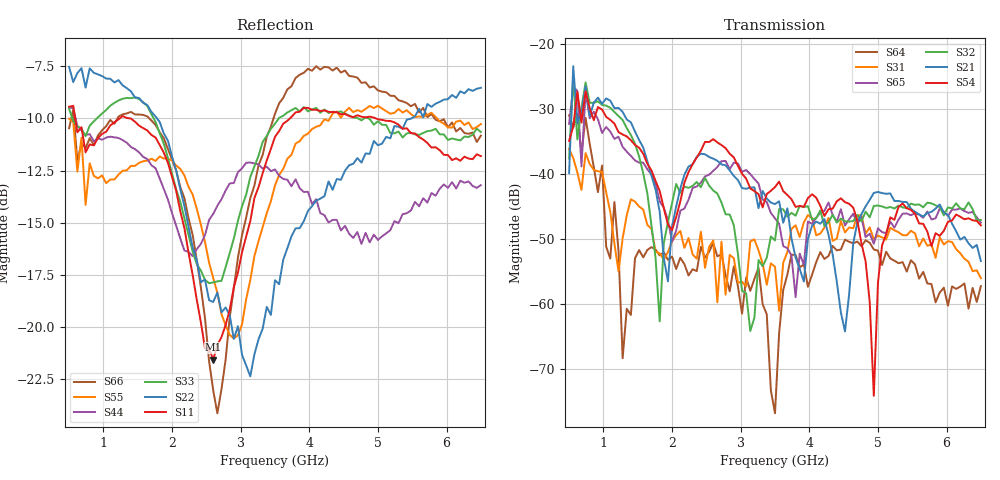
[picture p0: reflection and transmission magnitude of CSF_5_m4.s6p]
!Keysight Technologies,M9804A,MY58100912,A.14.10.03
!Date: Thursday, April 27, 2023 10:28:33
!Correction: S11(C  6-Port  )
!S12(C  6-Port  )
!S13(C  6-Port  )
!S14(C  6-Port  )
!S15(C  6-Port  )
!S16(C  6-Port  )
!S21(C  6-Port  )
!S22(C  6-Port  )
!S23(C  6-Port  )
!S24(C  6-Port  )
!S25(C  6-Port  )
!S26(C  6-Port  )
!S31(C  6-Port  )
!S32(C  6-Port  )
!S33(C  6-Port  )
!S34(C  6-Port  )
!S35(C  6-Port  )
!S36(C  6-Port  )
!S41(C  6-Port  )
!S42(C  6-Port  )
!S43(C  6-Port  )
!S44(C  6-Port  )
!S45(C  6-Port  )
!S46(C  6-Port  )
!S51(C  6-Port  )
!S52(C  6-Port  )
!S53(C  6-Port  )
!S54(C  6-Port  )
!S55(C  6-Port  )
!S56(C  6-Port  )
!S61(C  6-Port  )
!S62(C  6-Port  )
!S63(C  6-Port  )
!S64(C  6-Port  )
!S65(C  6-Port  )
!S66(C  6-Port  )
!S6P File: Measurement: :
# Hz S  RI  R 50
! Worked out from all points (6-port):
!   101 points, 500 MHz to 6.5 GHz, reference 50 ohm
!   strongest paths, dB at 500 MHz, 2 GHz, 3.5 GHz, 5 GHz, 6.5 GHz:
!     S54: -34.9, -48.6, -42.0, -56.8, -47.9
!     S21: -39.9, -48.0, -44.6, -42.8, -53.4
!     S32: -37.6, -44.5, -50.2, -44.8, -47.1
!     S65: -32.3, -50.4, -46.8, -48.3, -47.5
!     S31: -36.1, -50.3, -54.3, -49.5, -56.0
!     S64: -30.9, -52.7, -76.9, -51.8, -57.3
!   lowest |S11| = -21.6 dB at 2.6 GHz (marker M1), VSWR 1.18, Z = 42.6 + j2.07 ohm
!   |S11| at or under -10 dB: 588.6 MHz to 1.236 GHz (647.8 MHz wide, 71 % of centre); 1.389 GHz to 3.716 GHz (2.327 GHz wide, 91.2 % of centre); 4.971 GHz to end of sweep
